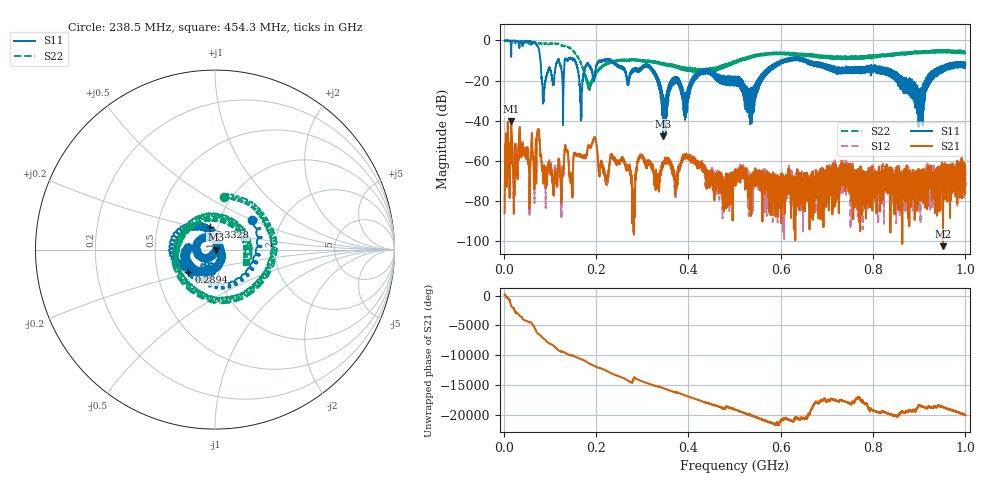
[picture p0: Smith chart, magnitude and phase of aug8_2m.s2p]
!Keysight Technologies N9923A: A.12.45
!Date: Friday, 08 August 2025 17:24:46
!Timezone: (UTC+08:00) Kuala Lumpur, Singapore
!Model: N9923A
!Serial: MY61181427
!GPS Latitude:
!GPS Longitude:
!GPS TimeStamp: 0001-01-01 00:00:00Z
!GPS Seconds Since Last Read: 0
!CHECKSUM:1048710412
!Correction: S11(ON U)S21(ON U)S12(ON U)S22(ON U)
!S2P File: Measurements:S11,S21,S12,S22:
# Hz S DB R 50
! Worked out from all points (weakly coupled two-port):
!   4001 points, 2 MHz to 1 GHz, reference 50 ohm
!   highest |S21| = -40.23 dB at 16.22 MHz (marker M1); lowest = -102.6 dB at 951.6 MHz (marker M2)
!   lowest |S11| = -47.8 dB at 345.3 MHz (marker M3), VSWR 1.01, Z = 50.4 + j0.0262 ohm
!   |S11| at or under -10 dB: 153.9 MHz to 207.7 MHz (53.81 MHz wide, 29.8 % of centre); 234.4 MHz to 601 MHz (366.6 MHz wide, 87.8 % of centre); 660.5 MHz to end of sweep (the widest 3 of 50)
!   |S22| runs from -24.7 to 0.0 dB; largest |S21 - S12| = 0.0015
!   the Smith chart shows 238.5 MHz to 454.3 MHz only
!   S11 on the Smith chart (normalised r, x): 238.5 MHz: 1.42, +0.51; 289.4 MHz: 0.72, -0.19; 332.8 MHz: 0.91, +0.23; 454.3 MHz: 0.78, +0.01
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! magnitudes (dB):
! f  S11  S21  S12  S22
! 2 MHz  -0.1  -86.1  -78.9  0.0
! 16.22 MHz  -8.1  -40.2  -39.7  -0.2
! 70.86 MHz  -2.1  -60.6  -59.6  -0.8
! 86.83 MHz  -30.5  -66.3  -65.6  -1.5
! 150.2 MHz  -8.9  -62.6  -63.4  -5.1
! 168.4 MHz  -34.9  -57.4  -58.0  -12.0
! 186.9 MHz  -12.8  -53.3  -53.1  -24.5
! 222.1 MHz  -9.9  -71.8  -69.9  -12.2
! 238.5 MHz  -11.5  -59.4  -58.3  -10.6
! 280.7 MHz  -14.2  -77.8  -94.3  -10.0
! 289.4 MHz  -14.2  -60.4  -60.9  -10.2
! 332.8 MHz  -17.9  -67.3  -67.0  -11.3
! 334.8 MHz  -19.8  -73.1  -68.4  -11.6
! 345.3 MHz  -47.8  -60.6  -60.7  -11.6
! 454.3 MHz  -18.3  -69.8  -70.8  -14.6
! 501 MHz  -17.9  -67.7  -64.5  -11.5
! 533.4 MHz  -24.8  -71.1  -76.1  -8.2
! 667.4 MHz  -10.7  -75.4  -71.2  -7.3
! 833.8 MHz  -17.2  -65.2  -69.8  -7.0
! 901.4 MHz  -26.7  -70.8  -68.7  -5.5
! 951.6 MHz  -15.2  -102.6  -63.1  -6.1
! 1 GHz  -11.8  -71.0  -65.7  -5.9
